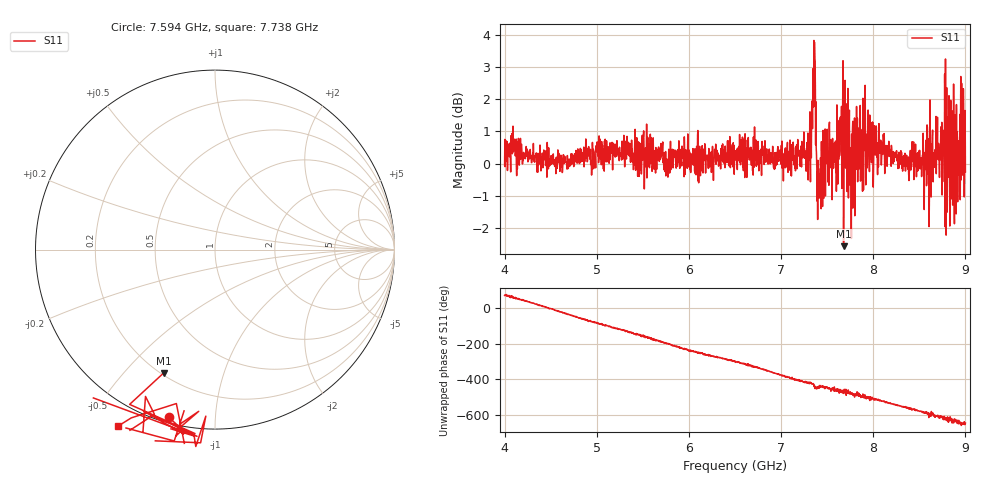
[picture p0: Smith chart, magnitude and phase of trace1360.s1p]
! Created with skrf 1.8.0 (http://scikit-rf.org).
# Hz S RI R 50.0
!freq ReS11 ImS11
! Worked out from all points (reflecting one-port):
!   1601 points, 4 GHz to 9 GHz, reference 50 ohm
!   lowest |S11| = -2.6 dB at 7.678 GHz (marker M1), VSWR 6.82, Z = 10.5 - j32.3 ohm
!   phase of S11 starts at 74 deg and turns -719 deg over the sweep
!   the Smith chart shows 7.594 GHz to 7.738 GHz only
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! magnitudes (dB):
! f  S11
! 4 GHz  0.0
! 4.094 GHz  0.4
! 4.625 GHz  -0.3
! 5.25 GHz  0.2
! 5.875 GHz  -0.1
! 6.5 GHz  0.2
! 7.125 GHz  0.3
! 7.294 GHz  -0.5
! 7.319 GHz  -0.6
! 7.347 GHz  3.0
! 7.369 GHz  3.2
! 7.409 GHz  -0.8
! 7.481 GHz  -1.0
! 7.578 GHz  0.6
! 7.641 GHz  1.4
! 7.65 GHz  1.5
! 7.678 GHz  -2.6
! 7.75 GHz  -0.7
! 7.775 GHz  1.1
! 7.828 GHz  1.4
! 7.922 GHz  -0.1
! 8.375 GHz  -0.1
! 8.628 GHz  -1.0
! 8.759 GHz  0.5
! 8.766 GHz  1.0
! 8.903 GHz  1.8
! 8.959 GHz  2.5
! 9 GHz  -0.3
